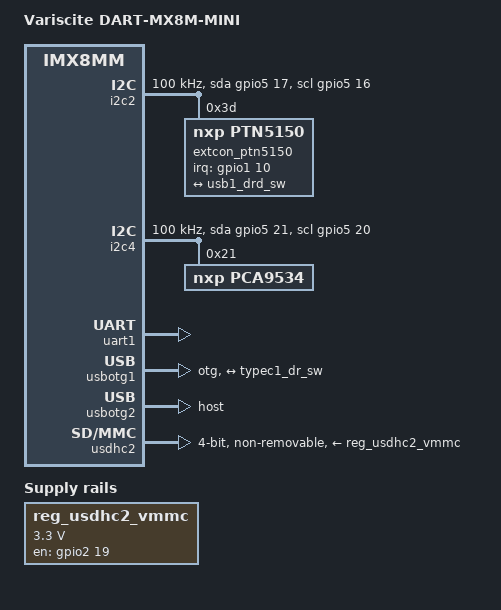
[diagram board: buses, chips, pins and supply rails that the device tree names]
// SPDX-License-Identifier: GPL-2.0+
/*
 * Copyright 2018 NXP
 * Copyright 2018-2023 Variscite Ltd.
 */

/dts-v1/;

#include "imx8mm-var-dart.dtsi"

/ {
	model = "Variscite DART-MX8M-MINI";
	compatible = "variscite,imx8mm-var-dart", "fsl,imx8mm";

	chosen {
		stdout-path = &uart1;
	};

	reg_usdhc2_vmmc: regulator-usdhc2 {
		compatible = "regulator-fixed";
		pinctrl-names = "default";
		pinctrl-0 = <&pinctrl_reg_usdhc2_vmmc>;
		regulator-name = "VSD_3V3";
		regulator-min-microvolt = <3300000>;
		regulator-max-microvolt = <3300000>;
		gpio = <&gpio2 19 GPIO_ACTIVE_HIGH>;
		off-on-delay-us = <20000>;
		enable-active-high;
	};
};

&iomuxc {
	pinctrl_i2c2: i2c2grp {
		fsl,pins = <
			MX8MM_IOMUXC_I2C2_SCL_I2C2_SCL			0x400001c3
			MX8MM_IOMUXC_I2C2_SDA_I2C2_SDA			0x400001c3
		>;
	};

	pinctrl_i2c2_gpio: i2c2grp-gpio {
		fsl,pins = <
			MX8MM_IOMUXC_I2C2_SCL_GPIO5_IO16		0x1c3
			MX8MM_IOMUXC_I2C2_SDA_GPIO5_IO17		0x1c3
		>;
	};

	pinctrl_i2c4: i2c4grp {
		fsl,pins = <
			MX8MM_IOMUXC_I2C4_SCL_I2C4_SCL			0x400001c3
			MX8MM_IOMUXC_I2C4_SDA_I2C4_SDA			0x400001c3
		>;
	};

	pinctrl_i2c4_gpio: i2c4grp-gpio {
		fsl,pins = <
			MX8MM_IOMUXC_I2C4_SCL_GPIO5_IO20		0x1c3
			MX8MM_IOMUXC_I2C4_SDA_GPIO5_IO21		0x1c3
		>;
	};

	pinctrl_reg_usdhc2_vmmc: regulator-usdhc2 {
		fsl,pins = <
			MX8MM_IOMUXC_SD2_RESET_B_GPIO2_IO19		0x41
		>;
	};

	pinctrl_uart1: uart1grp {
		fsl,pins = <
			MX8MM_IOMUXC_UART1_RXD_UART1_DCE_RX		0x140
			MX8MM_IOMUXC_UART1_TXD_UART1_DCE_TX		0x140
		>;
	};

	pinctrl_usdhc2: usdhc2grp {
		fsl,pins = <
			MX8MM_IOMUXC_SD2_CLK_USDHC2_CLK		0x190
			MX8MM_IOMUXC_SD2_CMD_USDHC2_CMD		0x1d0
			MX8MM_IOMUXC_SD2_DATA0_USDHC2_DATA0	0x1d0
			MX8MM_IOMUXC_SD2_DATA1_USDHC2_DATA1	0x1d0
			MX8MM_IOMUXC_SD2_DATA2_USDHC2_DATA2	0x1d0
			MX8MM_IOMUXC_SD2_DATA3_USDHC2_DATA3	0x1d0
			MX8MM_IOMUXC_GPIO1_IO04_USDHC2_VSELECT	0x1d0
		>;
	};

	pinctrl_usdhc2_100mhz: usdhc2grp100mhz {
		fsl,pins = <
			MX8MM_IOMUXC_SD2_CLK_USDHC2_CLK		0x194
			MX8MM_IOMUXC_SD2_CMD_USDHC2_CMD		0x1d4
			MX8MM_IOMUXC_SD2_DATA0_USDHC2_DATA0	0x1d4
			MX8MM_IOMUXC_SD2_DATA1_USDHC2_DATA1	0x1d4
			MX8MM_IOMUXC_SD2_DATA2_USDHC2_DATA2	0x1d4
			MX8MM_IOMUXC_SD2_DATA3_USDHC2_DATA3	0x1d4
			MX8MM_IOMUXC_GPIO1_IO04_USDHC2_VSELECT	0x1d0
		>;
	};

	pinctrl_usdhc2_200mhz: usdhc2grp200mhz {
		fsl,pins = <
			MX8MM_IOMUXC_SD2_CLK_USDHC2_CLK		0x196
			MX8MM_IOMUXC_SD2_CMD_USDHC2_CMD		0x1d6
			MX8MM_IOMUXC_SD2_DATA0_USDHC2_DATA0	0x1d6
			MX8MM_IOMUXC_SD2_DATA1_USDHC2_DATA1	0x1d6
			MX8MM_IOMUXC_SD2_DATA2_USDHC2_DATA2	0x1d6
			MX8MM_IOMUXC_SD2_DATA3_USDHC2_DATA3	0x1d6
			MX8MM_IOMUXC_GPIO1_IO04_USDHC2_VSELECT	0x1d0
		>;
	};

	pinctrl_extcon: extcongrp {
		fsl,pins = <
			MX8MM_IOMUXC_GPIO1_IO10_GPIO1_IO10		0x19
		>;
	};
};

&i2c2 {
	clock-frequency = <100000>;
	pinctrl-names = "default", "gpio";
	pinctrl-0 = <&pinctrl_i2c2>;
	pinctrl-1 = <&pinctrl_i2c2_gpio>;
	scl-gpios = <&gpio5 16 GPIO_ACTIVE_HIGH>;
	sda-gpios = <&gpio5 17 GPIO_ACTIVE_HIGH>;
	status = "okay";

	extcon_ptn5150: typec@3d {
		compatible = "nxp,ptn5150";
		pinctrl-names = "default";
		pinctrl-0 = <&pinctrl_extcon>;
		reg = <0x3d>;
		interrupt-parent = <&gpio1>;
		interrupts = <10 IRQ_TYPE_NONE>;
		irq-is-id-quirk;
		status = "okay";

		port {
			typec1_dr_sw: endpoint {
				remote-endpoint = <&usb1_drd_sw>;
			};
		};
	};
};

&i2c4 {
	clock-frequency = <100000>;
	pinctrl-names = "default", "gpio";
	pinctrl-0 = <&pinctrl_i2c4>;
	pinctrl-1 = <&pinctrl_i2c4_gpio>;
	scl-gpios = <&gpio5 20 GPIO_ACTIVE_HIGH>;
	sda-gpios = <&gpio5 21 GPIO_ACTIVE_HIGH>;
	status = "okay";

	pca9534: gpio@21 {
				status = "okay";
				compatible = "nxp,pca9534";
				reg = <0x21>;
				gpio-controller;
				#gpio-cells = <2>;

				ft5x06_ts_hog {
						gpio-hog;
						gpios = <4 GPIO_ACTIVE_HIGH>;
						output-high;
						line-name = "touch_rst";
				};
		};
};

&uart1 { /* console */
	pinctrl-names = "default";
	pinctrl-0 = <&pinctrl_uart1>;
	status = "okay";
};

&usbotg1 {
	dr_mode = "otg";
	hnp-disable;
	srp-disable;
	adp-disable;
	usb-role-switch;
	disable-over-current;
	samsung,picophy-pre-emp-curr-control = <3>;
	samsung,picophy-dc-vol-level-adjust = <7>;
	status = "okay";

	port {
		usb1_drd_sw: endpoint {
			remote-endpoint = <&typec1_dr_sw>;
		};
	};
};

&usbotg2 {
	dr_mode = "host";
	status = "okay";
};

/* SD */
&usdhc2 {
	pinctrl-names = "default", "state_100mhz", "state_200mhz";
	pinctrl-0 = <&pinctrl_usdhc2>;
	pinctrl-1 = <&pinctrl_usdhc2_100mhz>;
	pinctrl-2 = <&pinctrl_usdhc2_200mhz>;
	non-removable;
	bus-width = <4>;
	vmmc-supply = <&reg_usdhc2_vmmc>;
	no-1-8-v;
	status = "okay";
};
